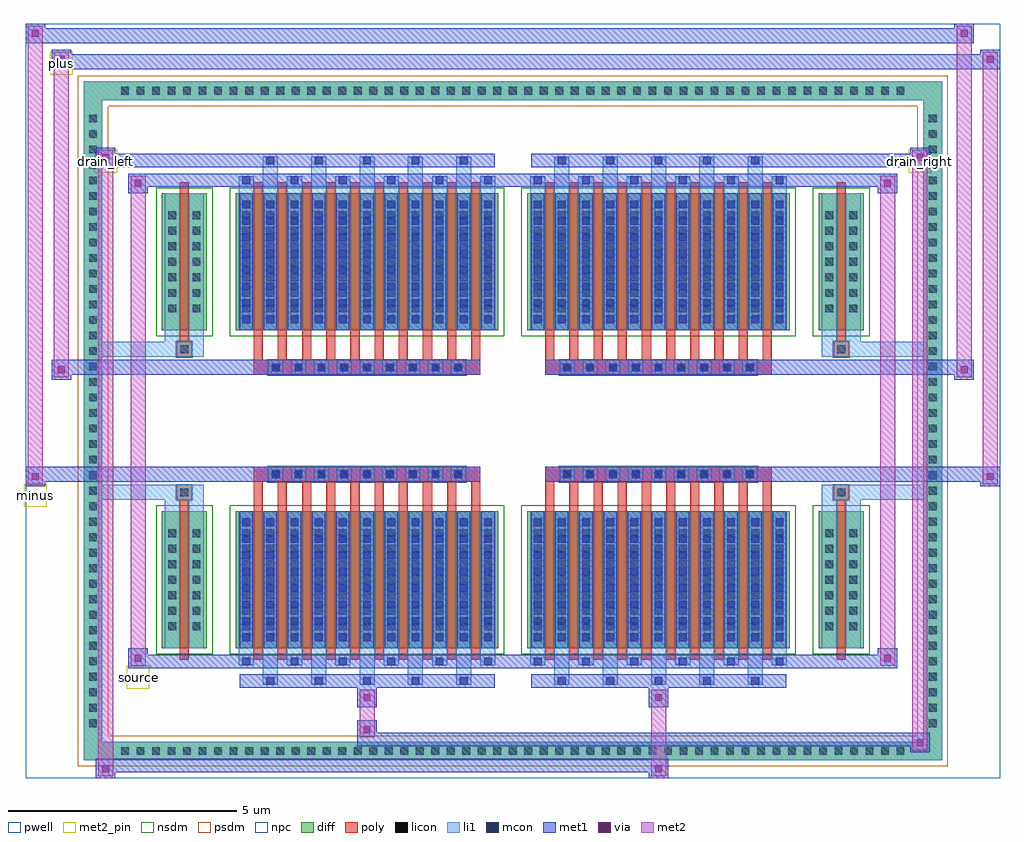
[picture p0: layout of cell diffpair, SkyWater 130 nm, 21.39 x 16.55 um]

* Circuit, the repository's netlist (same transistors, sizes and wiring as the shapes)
* NGSPICE file created from diffpair.ext - technology: sky130A

.subckt diffpair minus drain_right drain_left source plus
X0 a_n1882_n1488# a_n1882_n1488# a_n1882_n1488# a_n1882_n1488# sky130_fd_pr__nfet_01v8 ad=1.17 pd=6.78 as=9.36 ps=54.24 w=3 l=0.2
X1 drain_left plus source a_n1882_n1488# sky130_fd_pr__nfet_01v8 ad=0.495 pd=3.33 as=0.495 ps=3.33 w=3 l=0.2
X2 drain_right minus source a_n1882_n1488# sky130_fd_pr__nfet_01v8 ad=0.495 pd=3.33 as=0.495 ps=3.33 w=3 l=0.2
X3 drain_right minus source a_n1882_n1488# sky130_fd_pr__nfet_01v8 ad=0.495 pd=3.33 as=0.495 ps=3.33 w=3 l=0.2
X4 source minus drain_right a_n1882_n1488# sky130_fd_pr__nfet_01v8 ad=0.495 pd=3.33 as=0.495 ps=3.33 w=3 l=0.2
X5 drain_right minus source a_n1882_n1488# sky130_fd_pr__nfet_01v8 ad=0.495 pd=3.33 as=0.495 ps=3.33 w=3 l=0.2
X6 source plus drain_left a_n1882_n1488# sky130_fd_pr__nfet_01v8 ad=0.495 pd=3.33 as=0.495 ps=3.33 w=3 l=0.2
X7 a_n1882_n1488# a_n1882_n1488# a_n1882_n1488# a_n1882_n1488# sky130_fd_pr__nfet_01v8 ad=1.17 pd=6.78 as=0 ps=0 w=3 l=0.2
X8 source plus drain_left a_n1882_n1488# sky130_fd_pr__nfet_01v8 ad=0.495 pd=3.33 as=0.495 ps=3.33 w=3 l=0.2
X9 drain_left plus source a_n1882_n1488# sky130_fd_pr__nfet_01v8 ad=0.495 pd=3.33 as=0.495 ps=3.33 w=3 l=0.2
X10 source minus drain_right a_n1882_n1488# sky130_fd_pr__nfet_01v8 ad=1.17 pd=6.78 as=0.495 ps=3.33 w=3 l=0.2
X11 drain_left plus source a_n1882_n1488# sky130_fd_pr__nfet_01v8 ad=0.495 pd=3.33 as=1.17 ps=6.78 w=3 l=0.2
X12 source minus drain_right a_n1882_n1488# sky130_fd_pr__nfet_01v8 ad=0.495 pd=3.33 as=0.495 ps=3.33 w=3 l=0.2
X13 drain_right minus source a_n1882_n1488# sky130_fd_pr__nfet_01v8 ad=0.495 pd=3.33 as=1.17 ps=6.78 w=3 l=0.2
X14 source minus drain_right a_n1882_n1488# sky130_fd_pr__nfet_01v8 ad=0.495 pd=3.33 as=0.495 ps=3.33 w=3 l=0.2
X15 drain_left plus source a_n1882_n1488# sky130_fd_pr__nfet_01v8 ad=0.495 pd=3.33 as=0.495 ps=3.33 w=3 l=0.2
X16 drain_left plus source a_n1882_n1488# sky130_fd_pr__nfet_01v8 ad=0.495 pd=3.33 as=1.17 ps=6.78 w=3 l=0.2
X17 source minus drain_right a_n1882_n1488# sky130_fd_pr__nfet_01v8 ad=0.495 pd=3.33 as=0.495 ps=3.33 w=3 l=0.2
X18 drain_left plus source a_n1882_n1488# sky130_fd_pr__nfet_01v8 ad=0.495 pd=3.33 as=0.495 ps=3.33 w=3 l=0.2
X19 source minus drain_right a_n1882_n1488# sky130_fd_pr__nfet_01v8 ad=1.17 pd=6.78 as=0.495 ps=3.33 w=3 l=0.2
X20 drain_left plus source a_n1882_n1488# sky130_fd_pr__nfet_01v8 ad=0.495 pd=3.33 as=0.495 ps=3.33 w=3 l=0.2
X21 source plus drain_left a_n1882_n1488# sky130_fd_pr__nfet_01v8 ad=1.17 pd=6.78 as=0.495 ps=3.33 w=3 l=0.2
X22 drain_right minus source a_n1882_n1488# sky130_fd_pr__nfet_01v8 ad=0.495 pd=3.33 as=0.495 ps=3.33 w=3 l=0.2
X23 source plus drain_left a_n1882_n1488# sky130_fd_pr__nfet_01v8 ad=0.495 pd=3.33 as=0.495 ps=3.33 w=3 l=0.2
X24 source plus drain_left a_n1882_n1488# sky130_fd_pr__nfet_01v8 ad=0.495 pd=3.33 as=0.495 ps=3.33 w=3 l=0.2
X25 source plus drain_left a_n1882_n1488# sky130_fd_pr__nfet_01v8 ad=1.17 pd=6.78 as=0.495 ps=3.33 w=3 l=0.2
X26 drain_right minus source a_n1882_n1488# sky130_fd_pr__nfet_01v8 ad=0.495 pd=3.33 as=0.495 ps=3.33 w=3 l=0.2
X27 drain_right minus source a_n1882_n1488# sky130_fd_pr__nfet_01v8 ad=0.495 pd=3.33 as=0.495 ps=3.33 w=3 l=0.2
X28 drain_right minus source a_n1882_n1488# sky130_fd_pr__nfet_01v8 ad=0.495 pd=3.33 as=1.17 ps=6.78 w=3 l=0.2
X29 drain_right minus source a_n1882_n1488# sky130_fd_pr__nfet_01v8 ad=0.495 pd=3.33 as=0.495 ps=3.33 w=3 l=0.2
X30 source plus drain_left a_n1882_n1488# sky130_fd_pr__nfet_01v8 ad=0.495 pd=3.33 as=0.495 ps=3.33 w=3 l=0.2
X31 drain_left plus source a_n1882_n1488# sky130_fd_pr__nfet_01v8 ad=0.495 pd=3.33 as=0.495 ps=3.33 w=3 l=0.2
X32 a_n1882_n1488# a_n1882_n1488# a_n1882_n1488# a_n1882_n1488# sky130_fd_pr__nfet_01v8 ad=1.17 pd=6.78 as=0 ps=0 w=3 l=0.2
X33 source plus drain_left a_n1882_n1488# sky130_fd_pr__nfet_01v8 ad=0.495 pd=3.33 as=0.495 ps=3.33 w=3 l=0.2
X34 drain_left plus source a_n1882_n1488# sky130_fd_pr__nfet_01v8 ad=0.495 pd=3.33 as=0.495 ps=3.33 w=3 l=0.2
X35 source minus drain_right a_n1882_n1488# sky130_fd_pr__nfet_01v8 ad=0.495 pd=3.33 as=0.495 ps=3.33 w=3 l=0.2
X36 source minus drain_right a_n1882_n1488# sky130_fd_pr__nfet_01v8 ad=0.495 pd=3.33 as=0.495 ps=3.33 w=3 l=0.2
X37 source minus drain_right a_n1882_n1488# sky130_fd_pr__nfet_01v8 ad=0.495 pd=3.33 as=0.495 ps=3.33 w=3 l=0.2
X38 drain_right minus source a_n1882_n1488# sky130_fd_pr__nfet_01v8 ad=0.495 pd=3.33 as=0.495 ps=3.33 w=3 l=0.2
X39 source plus drain_left a_n1882_n1488# sky130_fd_pr__nfet_01v8 ad=0.495 pd=3.33 as=0.495 ps=3.33 w=3 l=0.2
X40 drain_left plus source a_n1882_n1488# sky130_fd_pr__nfet_01v8 ad=0.495 pd=3.33 as=0.495 ps=3.33 w=3 l=0.2
X41 source plus drain_left a_n1882_n1488# sky130_fd_pr__nfet_01v8 ad=0.495 pd=3.33 as=0.495 ps=3.33 w=3 l=0.2
X42 a_n1882_n1488# a_n1882_n1488# a_n1882_n1488# a_n1882_n1488# sky130_fd_pr__nfet_01v8 ad=1.17 pd=6.78 as=0 ps=0 w=3 l=0.2
X43 source minus drain_right a_n1882_n1488# sky130_fd_pr__nfet_01v8 ad=0.495 pd=3.33 as=0.495 ps=3.33 w=3 l=0.2
.ends

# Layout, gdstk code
import gdstk
lib = gdstk.Library(unit=1e-6, precision=5e-09)
def R(c, l, rs):  # rectangles x0, y0, x1, y1
    for r in rs: c.add(gdstk.rectangle(r[:2], r[2:], *l))
def A(c, l, x, y, w, h, nx, ny, dx, dy):  # array of equal rectangles
    R(c, l, [(x+i*dx, y+j*dy, x+i*dx+w, y+j*dy+h) for i in range(nx) for j in range(ny)])
def P(c, l, *ps):  # polygons
    for p in ps: c.add(gdstk.Polygon(p, *l))
pwell = (64, 44)
diff = (65, 20)
poly = (66, 20)
licon = (66, 44)
li1 = (67, 20)
mcon = (67, 44)
met1 = (68, 20)
via = (68, 44)
met2_pin = (69, 16)
met2 = (69, 20)
nsdm = (93, 44)
psdm = (94, 20)
npc = (95, 20)

diffpair = lib.new_cell('diffpair')
R(diffpair, pwell, [(-10.68,-7.84,10.68,8.71), (-8,-6.03,-0.01,-0.805), (0.01,-6.03,8,-0.805), (-8,0.805,-0.01,6.03), (0.01,0.805,8,6.03)])
A(diffpair, diff, -8.705, -7.44, 0.41, 0.41, 51, 2, 0.34, 14.47)
A(diffpair, diff, -9.41, -6.835, 0.41, 0.41, 1, 40, 0, 0.34)
A(diffpair, diff, 9, -6.835, 0.41, 0.41, 1, 40, 0, 0.34)
R(diffpair, diff, [(-8.705,-7.44,8.705,-7.03), (-9.41,-6.835,-9,6.835), (9,-6.835,9.41,6.835), (-7.69,-4.985,-6.71,-1.985), (-6.07,-4.985,-0.32,-1.985), (0.32,-4.985,6.07,-1.985), (6.71,-4.985,7.69,-1.985), (-7.69,1.985,-6.71,4.985), (-6.07,1.985,-0.32,4.985), (0.32,1.985,6.07,4.985), (6.71,1.985,7.69,4.985), (-8.705,7.03,8.705,7.44)])
P(diffpair, diff, [(9.41,7.44),(-9.41,7.44),(-9.41,-7.03),(-9,-7.03),(-9,7.03),(9,7.03),(9,-7.03),(-9,-7.03),(-9.41,-7.03),(-9.41,-7.44),(9.41,-7.44)])
A(diffpair, poly, -5.68, -5.235, 0.2, 3.5, 10, 2, 0.53, 6.97)
A(diffpair, poly, 0.71, -5.235, 0.2, 3.5, 10, 2, 0.53, 6.97)
A(diffpair, poly, -5.68, -1.735, 0.2, 0.4, 10, 2, 0.53, 3.07)
A(diffpair, poly, 0.71, -1.735, 0.2, 0.4, 10, 2, 0.53, 3.07)
A(diffpair, poly, -5.36, -1.335, 0.33, 0.33, 9, 2, 0.5, 2.34)
A(diffpair, poly, 1.03, -1.335, 0.33, 0.33, 9, 2, 0.5, 2.34)
R(diffpair, poly, [(-7.3,-5.235,-7.1,-1.735), (7.1,-5.235,7.3,-1.735), (-7.365,-1.735,-7.035,-1.405), (-7.365,-1.735,-7.035,-1.405), (7.035,-1.735,7.365,-1.405), (7.035,-1.735,7.365,-1.405), (-5.68,-1.335,-0.71,-1.005), (0.71,-1.335,5.68,-1.005), (-5.68,1.005,-0.71,1.335), (0.71,1.005,5.68,1.335), (-7.365,1.405,-7.035,1.735), (-7.365,1.405,-7.035,1.735), (7.035,1.405,7.365,1.735), (7.035,1.405,7.365,1.735), (-7.3,1.735,-7.1,5.235), (7.1,1.735,7.3,5.235)])
A(diffpair, licon, -8.585, -7.32, 0.17, 0.17, 51, 2, 0.34, 14.47)
A(diffpair, licon, -9.29, -6.715, 0.17, 0.17, 1, 40, 0, 0.34)
A(diffpair, licon, 9.12, -6.715, 0.17, 0.17, 1, 40, 0, 0.34)
A(diffpair, licon, -7.55, -4.59, 0.17, 0.17, 1, 7, 0, 0.34)
A(diffpair, licon, -7.02, -4.59, 0.17, 0.17, 1, 7, 0, 0.34)
A(diffpair, licon, -5.93, -4.59, 0.17, 0.17, 11, 7, 0.53, 0.34)
A(diffpair, licon, 0.46, -4.59, 0.17, 0.17, 11, 7, 0.53, 0.34)
A(diffpair, licon, 6.85, -4.59, 0.17, 0.17, 1, 7, 0, 0.34)
A(diffpair, licon, 7.38, -4.59, 0.17, 0.17, 1, 7, 0, 0.34)
A(diffpair, licon, -5.28, -1.255, 0.17, 0.17, 9, 2, 0.5, 2.34)
A(diffpair, licon, 1.11, -1.255, 0.17, 0.17, 9, 2, 0.5, 2.34)
A(diffpair, licon, -7.55, 2.38, 0.17, 0.17, 1, 7, 0, 0.34)
A(diffpair, licon, -7.02, 2.38, 0.17, 0.17, 1, 7, 0, 0.34)
A(diffpair, licon, -5.93, 2.38, 0.17, 0.17, 11, 7, 0.53, 0.34)
A(diffpair, licon, 0.46, 2.38, 0.17, 0.17, 11, 7, 0.53, 0.34)
A(diffpair, licon, 6.85, 2.38, 0.17, 0.17, 1, 7, 0, 0.34)
A(diffpair, licon, 7.38, 2.38, 0.17, 0.17, 1, 7, 0, 0.34)
R(diffpair, licon, [(-7.285,-1.655,-7.115,-1.485), (7.115,-1.655,7.285,-1.485), (-7.285,1.485,-7.115,1.655), (7.115,1.485,7.285,1.655)])
A(diffpair, li1, -8.665, -7.4, 0.33, 0.33, 51, 2, 0.34, 14.47)
A(diffpair, li1, -9.37, -6.795, 0.33, 0.33, 1, 40, 0, 0.34)
A(diffpair, li1, 9.04, -6.795, 0.33, 0.33, 1, 40, 0, 0.34)
A(diffpair, li1, -5.48, -5.79, 0.33, 0.805, 5, 2, 1.06, 10.775)
A(diffpair, li1, -5.4, -5.79, 0.17, 0.17, 5, 2, 1.06, 11.41)
A(diffpair, li1, 0.91, -5.79, 0.33, 0.805, 5, 2, 1.06, 10.775)
A(diffpair, li1, 0.99, -5.79, 0.17, 0.17, 5, 2, 1.06, 11.41)
A(diffpair, li1, -6.01, -5.36, 0.33, 0.375, 6, 2, 1.06, 10.345)
A(diffpair, li1, -5.93, -5.36, 0.17, 0.17, 6, 2, 1.06, 10.55)
A(diffpair, li1, 0.38, -5.36, 0.33, 0.375, 6, 2, 1.06, 10.345)
A(diffpair, li1, 0.46, -5.36, 0.17, 0.17, 6, 2, 1.06, 10.55)
A(diffpair, li1, -6.01, -4.985, 0.33, 3, 11, 2, 0.53, 6.97)
A(diffpair, li1, 0.38, -4.985, 0.33, 3, 11, 2, 0.53, 6.97)
A(diffpair, li1, -5.93, -4.83, 0.17, 0.17, 11, 8, 0.53, 0.36)
A(diffpair, li1, -5.93, -4.83, 0.17, 2.69, 11, 2, 0.53, 6.97)
A(diffpair, li1, 0.46, -4.83, 0.17, 0.17, 11, 8, 0.53, 0.36)
A(diffpair, li1, 0.46, -4.83, 0.17, 2.69, 11, 2, 0.53, 6.97)
A(diffpair, li1, -7.63, -4.67, 0.33, 0.33, 1, 7, 0, 0.34)
A(diffpair, li1, -7.1, -4.67, 0.33, 0.33, 1, 7, 0, 0.34)
A(diffpair, li1, -6.01, -4.67, 0.33, 0.33, 11, 7, 0.53, 0.34)
A(diffpair, li1, 0.38, -4.67, 0.33, 0.33, 11, 7, 0.53, 0.34)
A(diffpair, li1, 6.77, -4.67, 0.33, 0.33, 1, 7, 0, 0.34)
A(diffpair, li1, 7.3, -4.67, 0.33, 0.33, 1, 7, 0, 0.34)
A(diffpair, li1, -5.36, -1.335, 0.33, 0.33, 9, 2, 0.5, 2.34)
A(diffpair, li1, 1.03, -1.335, 0.33, 0.33, 9, 2, 0.5, 2.34)
A(diffpair, li1, -5.93, 2.14, 0.17, 0.17, 11, 8, 0.53, 0.36)
A(diffpair, li1, 0.46, 2.14, 0.17, 0.17, 11, 8, 0.53, 0.36)
A(diffpair, li1, -7.63, 2.3, 0.33, 0.33, 1, 7, 0, 0.34)
A(diffpair, li1, -7.1, 2.3, 0.33, 0.33, 1, 7, 0, 0.34)
A(diffpair, li1, -6.01, 2.3, 0.33, 0.33, 11, 7, 0.53, 0.34)
A(diffpair, li1, 0.38, 2.3, 0.33, 0.33, 11, 7, 0.53, 0.34)
A(diffpair, li1, 6.77, 2.3, 0.33, 0.33, 1, 7, 0, 0.34)
A(diffpair, li1, 7.3, 2.3, 0.33, 0.33, 1, 7, 0, 0.34)
R(diffpair, li1, [(-9.41,-7.44,-9,-7.03), (-9.41,-7.44,-9,-7.03), (-9,-7.44,9,-7.03), (9,-7.44,9.41,-7.03), (9,-7.44,9.41,-7.03), (-9.41,-7.03,-9,7.03), (9,-7.03,9.41,7.03), (-7.63,-4.985,-7.3,-1.985), (-7.1,-4.985,-6.77,-1.985), (6.77,-4.985,7.1,-1.985), (7.3,-4.985,7.63,-1.985), (-7.63,-1.985,-7.3,-1.405), (-7.1,-1.985,-6.77,-1.405), (6.77,-1.985,7.1,-1.405), (7.3,-1.985,7.63,-1.405), (-9.41,-1.735,-7.365,-1.405), (-7.63,-1.735,-7.365,-1.405), (-7.365,-1.735,-7.035,-1.405), (-7.035,-1.735,-6.77,-1.405), (6.77,-1.735,7.035,-1.405), (7.035,-1.735,7.365,-1.405), (7.035,-1.735,9.41,-1.405), (7.365,-1.735,7.63,-1.405), (-9.41,1.405,-7.365,1.735), (-7.63,1.405,-7.365,1.735), (-7.63,1.405,-7.3,1.985), (-7.365,1.405,-7.035,1.735), (-7.1,1.405,-6.77,1.985), (-7.035,1.405,-6.77,1.735), (6.77,1.405,7.035,1.735), (6.77,1.405,7.1,1.985), (7.035,1.405,7.365,1.735), (7.035,1.405,9.41,1.735), (7.3,1.405,7.63,1.985), (7.365,1.405,7.63,1.735), (-7.63,1.985,-7.3,4.985), (-7.1,1.985,-6.77,4.985), (6.77,1.985,7.1,4.985), (7.3,1.985,7.63,4.985), (-9.41,7.03,-9,7.44), (-9.41,7.03,-9,7.44), (-9,7.03,9,7.44), (9,7.03,9.41,7.44), (9,7.03,9.41,7.44)])
A(diffpair, mcon, -5.4, -5.79, 0.17, 0.17, 5, 2, 1.06, 11.41)
A(diffpair, mcon, 0.99, -5.79, 0.17, 0.17, 5, 2, 1.06, 11.41)
A(diffpair, mcon, -5.93, -5.36, 0.17, 0.17, 6, 2, 1.06, 10.55)
A(diffpair, mcon, 0.46, -5.36, 0.17, 0.17, 6, 2, 1.06, 10.55)
A(diffpair, mcon, -5.93, -4.83, 0.17, 0.17, 11, 8, 0.53, 0.36)
A(diffpair, mcon, 0.46, -4.83, 0.17, 0.17, 11, 8, 0.53, 0.36)
A(diffpair, mcon, -5.28, -1.255, 0.17, 0.17, 9, 2, 0.5, 2.34)
A(diffpair, mcon, 1.11, -1.255, 0.17, 0.17, 9, 2, 0.5, 2.34)
A(diffpair, mcon, -5.93, 2.14, 0.17, 0.17, 11, 8, 0.53, 0.36)
A(diffpair, mcon, 0.46, 2.14, 0.17, 0.17, 11, 8, 0.53, 0.36)
A(diffpair, met1, -5.46, -5.85, 0.29, 0.29, 5, 2, 1.06, 11.41)
A(diffpair, met1, 0.93, -5.85, 0.29, 0.29, 5, 2, 1.06, 11.41)
A(diffpair, met1, -5.99, -5.42, 0.29, 0.29, 6, 2, 1.06, 10.55)
A(diffpair, met1, 0.4, -5.42, 0.29, 0.29, 6, 2, 1.06, 10.55)
A(diffpair, met1, -5.99, -4.985, 0.29, 3, 11, 2, 0.53, 6.97)
A(diffpair, met1, 0.4, -4.985, 0.29, 3, 11, 2, 0.53, 6.97)
A(diffpair, met1, -5.99, -4.89, 0.29, 0.29, 11, 8, 0.53, 0.36)
A(diffpair, met1, 0.4, -4.89, 0.29, 0.29, 11, 8, 0.53, 0.36)
A(diffpair, met1, -5.34, -1.315, 0.29, 0.29, 9, 2, 0.5, 2.34)
A(diffpair, met1, 1.05, -1.315, 0.29, 0.29, 9, 2, 0.5, 2.34)
A(diffpair, met1, -5.99, 2.08, 0.29, 0.29, 11, 8, 0.53, 0.36)
A(diffpair, met1, 0.4, 2.08, 0.29, 0.29, 11, 8, 0.53, 0.36)
R(diffpair, met1, [(-9.14,-7.84,-8.71,-7.41), (2.98,-7.84,3.41,-7.41), (-9.14,-7.7,3.41,-7.41), (8.71,-7.27,9.14,-6.84), (-3.41,-7.13,9.14,-6.84), (-3.41,-6.99,-2.98,-6.56), (-3.41,-6.28,-2.98,-5.85), (2.98,-6.28,3.41,-5.85), (-5.99,-5.85,-0.4,-5.56), (0.4,-5.85,5.99,-5.56), (-8.43,-5.42,-8,-4.99), (-8.43,-5.42,-5.99,-5.13), (-5.99,-5.42,-0.4,-5.13), (-0.4,-5.42,0.4,-5.13), (0.4,-5.42,5.99,-5.13), (5.99,-5.42,8.43,-5.13), (8,-5.42,8.43,-4.99), (-10.68,-1.435,-10.25,-1.005), (10.25,-1.435,10.68,-1.005), (-10.68,-1.335,-0.71,-1.005), (-5.68,-1.335,-0.71,-1.005), (0.71,-1.335,5.68,-1.005), (0.71,-1.335,10.68,-1.005), (-10.11,0.905,-9.68,1.335), (9.68,0.905,10.11,1.335), (-10.11,1.005,-5.68,1.335), (-5.68,1.005,-0.71,1.335), (0.71,1.005,5.68,1.335), (5.68,1.005,10.11,1.335), (-8.43,4.99,-8,5.42), (8,4.99,8.43,5.42), (-8.43,5.13,-5.99,5.42), (-5.99,5.13,-0.4,5.42), (-0.4,5.13,0.4,5.42), (0.4,5.13,5.99,5.42), (5.99,5.13,8.43,5.42), (-9.14,5.56,-8.71,5.99), (-9.14,5.56,-5.99,5.85), (-5.99,5.56,-0.4,5.85), (0.4,5.56,5.99,5.85), (5.99,5.56,9.14,5.85), (8.71,5.56,9.14,5.99), (-10.11,7.71,-9.68,8.14), (-10.11,7.71,-8,8.04), (-8,7.71,8,8.04), (8,7.71,10.68,8.04), (10.25,7.71,10.68,8.14), (-10.68,8.28,-10.25,8.71), (-10.68,8.28,-8,8.61), (-8,8.28,8,8.61), (8,8.28,10.11,8.61), (9.68,8.28,10.11,8.71)])
R(diffpair, via, [(-9,-7.7,-8.85,-7.55), (3.12,-7.7,3.27,-7.55), (8.85,-7.13,9,-6.98), (-3.27,-6.85,-3.12,-6.7), (-3.27,-6.14,-3.12,-5.99), (3.12,-6.14,3.27,-5.99), (-8.29,-5.28,-8.14,-5.13), (8.14,-5.28,8.29,-5.13), (-10.54,-1.295,-10.39,-1.145), (10.39,-1.295,10.54,-1.145), (-9.97,1.045,-9.82,1.195), (9.82,1.045,9.97,1.195), (-8.29,5.13,-8.14,5.28), (8.14,5.13,8.29,5.28), (-9,5.7,-8.85,5.85), (8.85,5.7,9,5.85), (-9.97,7.85,-9.82,8), (10.39,7.85,10.54,8), (-10.54,8.42,-10.39,8.57), (9.82,8.42,9.97,8.57)])
R(diffpair, met2_pin, [(-8.465,-5.87,-7.965,-5.37), (-10.715,-1.885,-10.215,-1.385), (-9.175,5.44,-8.675,5.94), (8.675,5.44,9.175,5.94), (-10.145,7.59,-9.645,8.09)])
R(diffpair, met2, [(-9.09,-7.79,-8.76,-7.46), (-9.09,-7.79,-8.76,5.94), (3.03,-7.79,3.36,-7.46), (3.03,-7.46,3.36,-6.23), (8.76,-7.22,9.09,-6.89), (8.76,-7.22,9.09,5.94), (-3.36,-6.94,-3.03,-6.61), (-3.36,-6.61,-3.03,-6.23), (-3.36,-6.23,-3.03,-5.9), (3.03,-6.23,3.36,-5.9), (-8.38,-5.37,-8.05,-5.04), (-8.38,-5.37,-8.05,5.37), (8.05,-5.37,8.38,-5.04), (8.05,-5.37,8.38,5.37), (-10.63,-1.385,-10.3,-1.055), (-10.63,-1.385,-10.3,8.66), (10.3,-1.385,10.63,-1.055), (10.3,-1.385,10.63,8.09), (-10.06,0.955,-9.73,1.285), (-10.06,0.955,-9.73,8.09), (9.73,0.955,10.06,1.285), (9.73,0.955,10.06,8.66), (-8.38,5.04,-8.05,5.37), (8.05,5.04,8.38,5.37), (-9.09,5.61,-8.76,5.94), (8.76,5.61,9.09,5.94), (-10.06,7.76,-9.73,8.09), (10.3,7.76,10.63,8.09), (-10.63,8.33,-10.3,8.66), (9.73,8.33,10.06,8.66)])
P(diffpair, met2, [(10.63,-1.385),(10.63,-1.385),(10.63,-1.055),(10.63,-1.055)],
  [(10.63,7.76),(10.63,7.76),(10.63,8.09),(10.63,8.09)],
  [(-10.3,-1.385),(-10.3,-1.385),(-10.3,-1.055),(-10.3,-1.055)],
  [(-10.3,8.33),(-10.3,8.33),(-10.3,8.66),(-10.3,8.66)],
  [(10.06,0.955),(10.06,0.955),(10.06,1.285),(10.06,1.285)],
  [(10.06,8.33),(10.06,8.33),(10.06,8.66),(10.06,8.66)],
  [(-9.73,0.955),(-9.73,0.955),(-9.73,1.285),(-9.73,1.285)],
  [(-9.73,7.76),(-9.73,7.76),(-9.73,8.09),(-9.73,8.09)],
  [(-8.76,-7.79),(-8.76,-7.79),(-8.76,-7.46),(-8.76,-7.46)],
  [(-8.76,5.61),(-8.76,5.61),(-8.76,5.94),(-8.76,5.94)],
  [(9.09,-7.22),(9.09,-7.22),(9.09,-6.89),(9.09,-6.89)],
  [(9.09,5.61),(9.09,5.61),(9.09,5.94),(9.09,5.94)],
  [(-8.05,-5.37),(-8.05,-5.37),(-8.05,-5.04),(-8.05,-5.04)],
  [(-8.05,5.04),(-8.05,5.04),(-8.05,5.37),(-8.05,5.37)],
  [(8.38,-5.37),(8.38,-5.37),(8.38,-5.04),(8.38,-5.04)],
  [(8.38,5.04),(8.38,5.04),(8.38,5.37),(8.38,5.37)])
R(diffpair, nsdm, [(-7.82,-5.115,-6.58,-1.855), (-6.2,-5.115,-0.19,-1.855), (0.19,-5.115,6.2,-1.855), (6.58,-5.115,7.82,-1.855), (-7.82,1.855,-6.58,5.115), (-6.2,1.855,-0.19,5.115), (0.19,1.855,6.2,5.115), (6.58,1.855,7.82,5.115)])
P(diffpair, psdm, [(9.54,7.57),(-9.54,7.57),(-9.54,-6.9),(-8.87,-6.9),(-8.87,6.9),(8.87,6.9),(8.87,-6.9),(-8.87,-6.9),(-9.54,-6.9),(-9.54,-7.57),(9.54,-7.57)])
A(diffpair, npc, -5.38, -1.355, 0.37, 0.37, 9, 2, 0.5, 2.34)
A(diffpair, npc, 1.01, -1.355, 0.37, 0.37, 9, 2, 0.5, 2.34)
R(diffpair, npc, [(-7.385,-1.755,-7.015,-1.385), (7.015,-1.755,7.385,-1.385), (-5.38,-1.355,-4.51,-0.985), (-5.38,-1.355,-4.51,-0.985), (-4.88,-1.355,-4.01,-0.985), (-4.88,-1.355,-4.01,-0.985), (-4.38,-1.355,-3.51,-0.985), (-4.38,-1.355,-3.51,-0.985), (-3.88,-1.355,-3.01,-0.985), (-3.88,-1.355,-3.01,-0.985), (-3.38,-1.355,-2.51,-0.985), (-3.38,-1.355,-2.51,-0.985), (-2.88,-1.355,-2.01,-0.985), (-2.88,-1.355,-2.01,-0.985), (-2.38,-1.355,-1.51,-0.985), (-2.38,-1.355,-1.51,-0.985), (-1.88,-1.355,-1.01,-0.985), (-1.88,-1.355,-1.01,-0.985), (1.01,-1.355,1.88,-0.985), (1.01,-1.355,1.88,-0.985), (1.51,-1.355,2.38,-0.985), (1.51,-1.355,2.38,-0.985), (2.01,-1.355,2.88,-0.985), (2.01,-1.355,2.88,-0.985), (2.51,-1.355,3.38,-0.985), (2.51,-1.355,3.38,-0.985), (3.01,-1.355,3.88,-0.985), (3.01,-1.355,3.88,-0.985), (3.51,-1.355,4.38,-0.985), (3.51,-1.355,4.38,-0.985), (4.01,-1.355,4.88,-0.985), (4.01,-1.355,4.88,-0.985), (4.51,-1.355,5.38,-0.985), (4.51,-1.355,5.38,-0.985), (-5.38,0.985,-4.51,1.355), (-5.38,0.985,-4.51,1.355), (-4.88,0.985,-4.01,1.355), (-4.88,0.985,-4.01,1.355), (-4.38,0.985,-3.51,1.355), (-4.38,0.985,-3.51,1.355), (-3.88,0.985,-3.01,1.355), (-3.88,0.985,-3.01,1.355), (-3.38,0.985,-2.51,1.355), (-3.38,0.985,-2.51,1.355), (-2.88,0.985,-2.01,1.355), (-2.88,0.985,-2.01,1.355), (-2.38,0.985,-1.51,1.355), (-2.38,0.985,-1.51,1.355), (-1.88,0.985,-1.01,1.355), (-1.88,0.985,-1.01,1.355), (1.01,0.985,1.88,1.355), (1.01,0.985,1.88,1.355), (1.51,0.985,2.38,1.355), (1.51,0.985,2.38,1.355), (2.01,0.985,2.88,1.355), (2.01,0.985,2.88,1.355), (2.51,0.985,3.38,1.355), (2.51,0.985,3.38,1.355), (3.01,0.985,3.88,1.355), (3.01,0.985,3.88,1.355), (3.51,0.985,4.38,1.355), (3.51,0.985,4.38,1.355), (4.01,0.985,4.88,1.355), (4.01,0.985,4.88,1.355), (4.51,0.985,5.38,1.355), (4.51,0.985,5.38,1.355), (-7.385,1.385,-7.015,1.755), (7.015,1.385,7.385,1.755)])
diffpair.add(gdstk.Label('minus', (-10.465,-1.635), layer=69, texttype=5))
diffpair.add(gdstk.Label('drain_right', (8.925,5.69), layer=69, texttype=5))
diffpair.add(gdstk.Label('drain_left', (-8.925,5.69), layer=69, texttype=5))
diffpair.add(gdstk.Label('source', (-8.215,-5.62), layer=69, texttype=5))
diffpair.add(gdstk.Label('plus', (-9.895,7.84), layer=69, texttype=5))

lib.write_gds('diffpair.gds')
